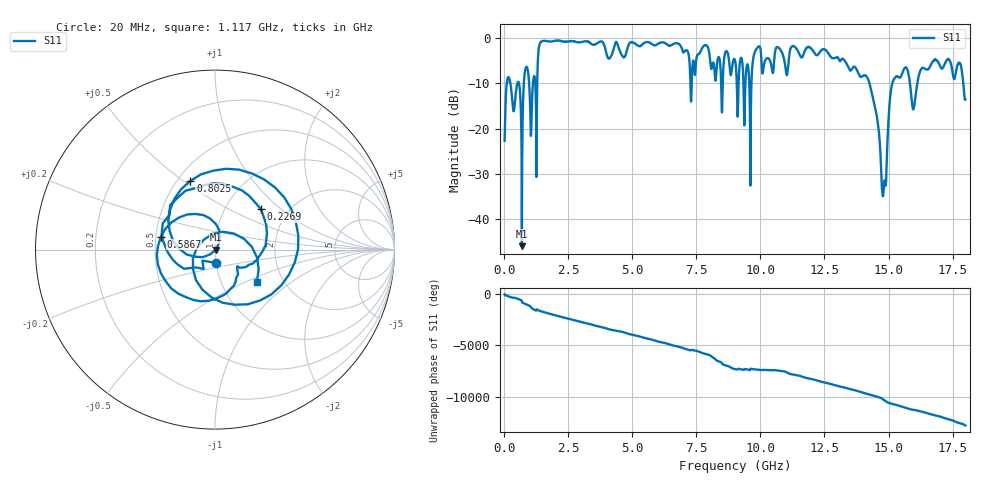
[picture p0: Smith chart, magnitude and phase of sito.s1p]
#  HZ  S  DB  R  50.00
! Rohde & Schwarz ZVA67 4Ports - Version 4.11 - 1305.7002k04 SN: 101038
! Date: 2024-04-02 00:01:53
! Measurement: S11
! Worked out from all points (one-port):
!   2000 points, 20 MHz to 18 GHz, reference 50 ohm
!   lowest |S11| = -45.9 dB at 694.6 MHz (marker M1), VSWR 1.01, Z = 50.5 - j0.0178 ohm
!   |S11| at or under -10 dB: 246 MHz to 520.4 MHz (274.4 MHz wide, 71.6 % of centre); 14.26 GHz to 15.15 GHz (887.3 MHz wide, 6.04 % of centre); 15.84 GHz to 16.12 GHz (287.4 MHz wide, 1.8 % of centre)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
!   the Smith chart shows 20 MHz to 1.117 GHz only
!   S11 on the Smith chart (normalised r, x): 20 MHz: 1.00, -0.15; 226.9 MHz: 1.47, +0.74; 586.7 MHz: 0.53, +0.09; 802.5 MHz: 0.58, +0.53; 1.117 GHz: 1.47, -0.58
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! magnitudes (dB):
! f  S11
! 20 MHz  -22.7
! 226.9 MHz  -9.4
! 586.7 MHz  -10.2
! 694.6 MHz  -45.9
! 802.5 MHz  -7.8
! 1.117 GHz  -10.6
! 1.441 GHz  -0.8
! 2.269 GHz  -0.7
! 4.517 GHz  -2.9
! 6.766 GHz  -1.1
! 7.351 GHz  -6.1
! 7.845 GHz  -1.5
! 8.484 GHz  -13.1
! 9.014 GHz  -5.0
! 9.599 GHz  -21.4
! 9.878 GHz  -2.1
! 11.01 GHz  -7.8
! 11.26 GHz  -1.8
! 13.51 GHz  -7.1
! 14.27 GHz  -10.2
! 14.56 GHz  -18.0
! 14.82 GHz  -33.3
! 15.14 GHz  -10.1
! 15.76 GHz  -7.4
! 15.98 GHz  -15.7
! 16.31 GHz  -6.6
! 17.76 GHz  -5.4
! 18 GHz  -13.5
